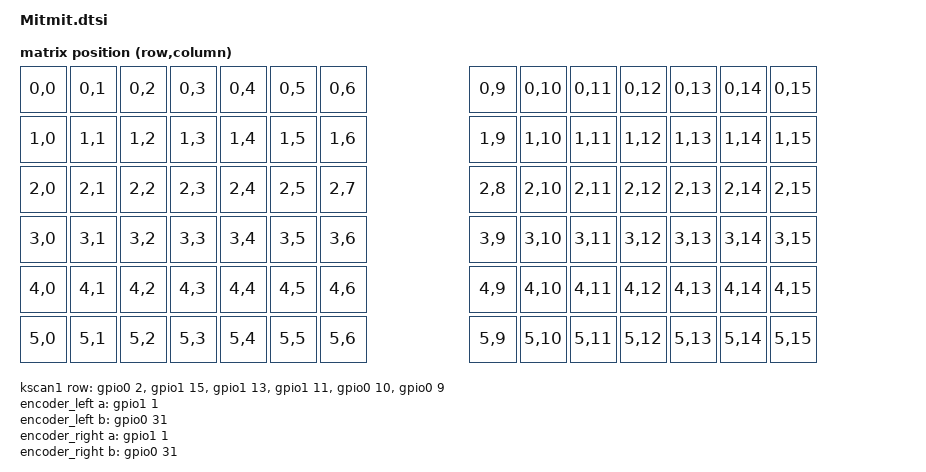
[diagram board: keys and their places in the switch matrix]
#include <dt-bindings/zmk/matrix_transform.h>
#include "Mitmit-layouts.dtsi"

/ {
    chosen {
    zmk,kscan = &kscan_composite;
    zmk,physical-layout = &default_layout;
    zmk,battery = &vbatt;
    };
	
	default_transform: keymap_transform_0 {
	        compatible = "zmk,matrix-transform";
	        columns = <16>;
	        rows = <6>;
	                   map = <
	            RC(0,0) RC(0,1) RC(0,2) RC(0,3) RC(0,4) RC(0,5) RC(0,6)                      RC(0,9) RC(0,10) RC(0,11) RC(0,12) RC(0,13) RC(0,14) RC(0,15)
	            RC(1,0) RC(1,1) RC(1,2) RC(1,3) RC(1,4) RC(1,5) RC(1,6)                      RC(1,9) RC(1,10) RC(1,11) RC(1,12) RC(1,13) RC(1,14) RC(1,15)
	            RC(2,0) RC(2,1) RC(2,2) RC(2,3) RC(2,4) RC(2,5) 	    RC(2,7)      RC(2,8)         RC(2,10) RC(2,11) RC(2,12) RC(2,13) RC(2,14) RC(2,15)
		    	RC(3,0) RC(3,1) RC(3,2) RC(3,3) RC(3,4) RC(3,5) RC(3,6)                      RC(3,9) RC(3,10) RC(3,11) RC(3,12) RC(3,13) RC(3,14) RC(3,15)
	            RC(4,0) RC(4,1) RC(4,2) RC(4,3) RC(4,4) RC(4,5) RC(4,6)                      RC(4,9) RC(4,10) RC(4,11) RC(4,12) RC(4,13) RC(4,14) RC(4,15)
	            RC(5,0) RC(5,1) RC(5,2) RC(5,3) RC(5,4) RC(5,5) RC(5,6)                      RC(5,9) RC(5,10) RC(5,11) RC(5,12) RC(5,13) RC(5,14) RC(5,15)
       
        >;
    };

	    kscan_composite: kscan_composite {
	        compatible = "zmk,kscan-composite";
	        rows = <6>;
	        columns = <16>;
	
	        // Include the matrix driver
	        matrix {
	            kscan = <&kscan1>;
	        };

	        // Include the direct GPIO driver on left right shield...
	        
    };

   kscan1: kscan_matrix {
        compatible = "zmk,kscan-gpio-matrix";
        // define 6x7 matrix here...
	    wakeup-source;
            diode-direction = "col2row";
            row-gpios
            =<&gpio0 2 (GPIO_ACTIVE_HIGH | GPIO_PULL_DOWN)>,  /* Row 0 */ 
            <&gpio1 15 (GPIO_ACTIVE_HIGH | GPIO_PULL_DOWN)>,  /* Row 1 */
            <&gpio1 13 (GPIO_ACTIVE_HIGH | GPIO_PULL_DOWN)>,  /* Row 2 */ 
            <&gpio1 11 (GPIO_ACTIVE_HIGH | GPIO_PULL_DOWN)>,  /* Row 3 */ 
            <&gpio0 10 (GPIO_ACTIVE_HIGH | GPIO_PULL_DOWN)>,  /* Row 4 */ 
            <&gpio0  9 (GPIO_ACTIVE_HIGH | GPIO_PULL_DOWN)>;  /* Row 5*/

    };

	encoder_left: encoder_left {
        compatible = "alps,ec11";
      		a-gpios = <&gpio1 1 (GPIO_ACTIVE_LOW | GPIO_PULL_UP)>;
	   	b-gpios = <&gpio0 31 (GPIO_ACTIVE_LOW | GPIO_PULL_UP)>;
		steps = <12>;
      		status = "disabled";
	};

   
	encoder_right: encoder_right {
		compatible = "alps,ec11";
		a-gpios = <&gpio1 1 (GPIO_ACTIVE_LOW | GPIO_PULL_UP)>;
	 	b-gpios = <&gpio0 31 (GPIO_ACTIVE_LOW | GPIO_PULL_UP)>;
		steps = <12>;
       		status = "disabled";
	};

    	sensors: sensors {
	        compatible = "zmk,keymap-sensors";
	        sensors = <&encoder_left &encoder_right>;
	        triggers-per-rotation = <12>;
	};  

	 vbatt: vbatt {
	        compatible = "zmk,battery-nrf-vddh";
	       init-delay-ms = <50>;
	    };
	
};

 &default_layout {
    transform = <&default_transform>;
    // kscan = <&kscan_composite>; //
    };
	
&adc {
    status = "okay";
};
&gpiote {
    status = "okay";
};

&gpio0 {
    status = "okay";
};

&gpio1 {
    status = "okay";
};
